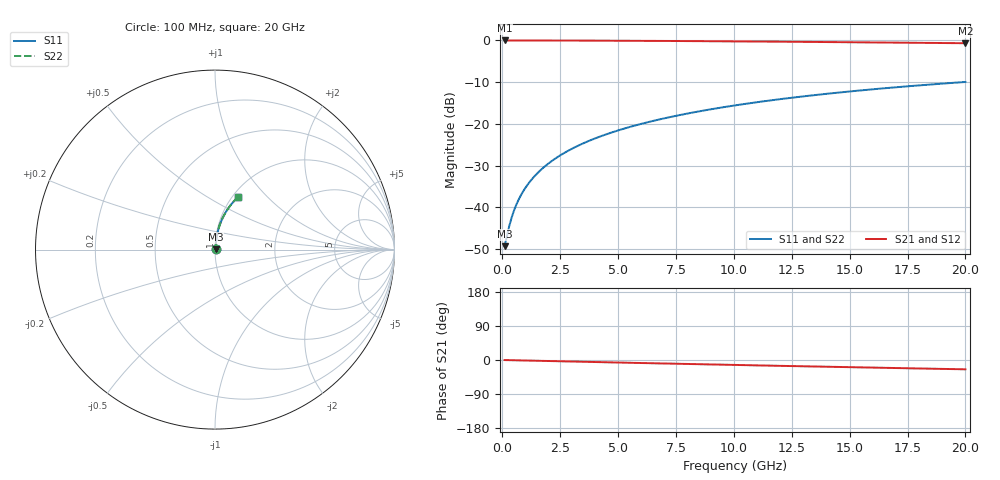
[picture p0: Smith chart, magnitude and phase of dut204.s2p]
! Touchstone file exported from HFSS 2024.1.0
!  File:  C:/UserFiles/LocalFiles/RDL_TSV_Batchsim/temp_RDL_top_204_1778687142.aedt
!  Generated:  11:47:48 PM May 13, 2026
!  Design:  RDL_top
!  Project:  temp_RDL_top_204_1778687142
!  Setup:  Setup1
!  Solution:  Sweep
! Variables:
!  dtsv = 10.80580581um
!  hbump = 3um
!  htsv = 91.71um
!  ldown = 100um
!  lrdl = 277.09um
!  p = 40
!  p1 = 45um
!  rhole = 1um
!  t = 450um
!  tdown = 3.915915916um
!  trdl = 3.4um
!  wdown = 15.38538539um
!  wrdl = 10.05um
# GHz S MA R 50.000000
! Terminal data exported
! Port[1] = Box2_T1
! Port[2] = Box2_T2
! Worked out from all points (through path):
!   200 points, 100 MHz to 20 GHz, reference 50 ohm
!   highest |S21| = -0.03 dB at 100 MHz (marker M1); lowest = -0.7 dB at 20 GHz (marker M2)
!   group delay of S21, straight-line fit = 3.41 ps
!   lowest |S11| = -49.3 dB at 100 MHz (marker M3), VSWR 1.01, Z = 50.3 + j0.173 ohm
!   |S11| at or under -10 dB: start of sweep to 19.9 GHz
!   |S22| runs from -49.3 to -10.0 dB; largest |S21 - S12| = 4.1e-15
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0.1  0.003441 30.0  0.997 -0.1  0.997 -0.1  0.003441 30.0
! Gamma 0 0 0 0
! Port Impedance 50 0 50 0
0.3  0.00598 59.2  0.9969 -0.4  0.9969 -0.4  0.00598 59.2
0.4  0.00751 65.5  0.9969 -0.6  0.9969 -0.6  0.00751 65.5
0.5  0.009091 69.5  0.9968 -0.7  0.9968 -0.7  0.009091 69.5
0.6  0.0107 72.3  0.9968 -0.8  0.9968 -0.8  0.0107 72.3
0.7  0.01232 74.3  0.9967 -1.0  0.9967 -1.0  0.01232 74.3
0.9  0.01557 77.1  0.9965 -1.2  0.9965 -1.2  0.01557 77.1
1.2  0.02049 79.5  0.9963 -1.6  0.9963 -1.6  0.02049 79.5
1.4  0.02379 80.5  0.9961 -1.9  0.9961 -1.9  0.02379 80.5
1.7  0.02874 81.5  0.9958 -2.3  0.9958 -2.3  0.02874 81.5
2.2  0.03702 82.4  0.9952 -3.0  0.9952 -3.0  0.03702 82.4
2.8  0.04698 82.8  0.9944 -3.8  0.9944 -3.8  0.04698 82.8
3.5  0.05861 82.8  0.9931 -4.7  0.9931 -4.7  0.05861 82.8
4.2  0.07025 82.6  0.9917 -5.6  0.9917 -5.6  0.07025 82.6
5  0.08355 82.1  0.9897 -6.7  0.9897 -6.7  0.08355 82.1
5.9  0.09848 81.4  0.9872 -7.8  0.9872 -7.8  0.09848 81.4
6.8  0.1134 80.6  0.9844 -9.0  0.9844 -9.0  0.1134 80.6
8.3  0.1381 79.2  0.9792 -10.9  0.9792 -10.9  0.1381 79.2
10.1  0.1674 77.3  0.9722 -13.1  0.9722 -13.1  0.1674 77.3
13.4  0.2198 73.8  0.9575 -17.1  0.9575 -17.1  0.2198 73.8
16.7  0.2701 70.1  0.9412 -20.9  0.9412 -20.9  0.2701 70.1
20  0.3176 66.5  0.9235 -24.6  0.9235 -24.6  0.3176 66.5
